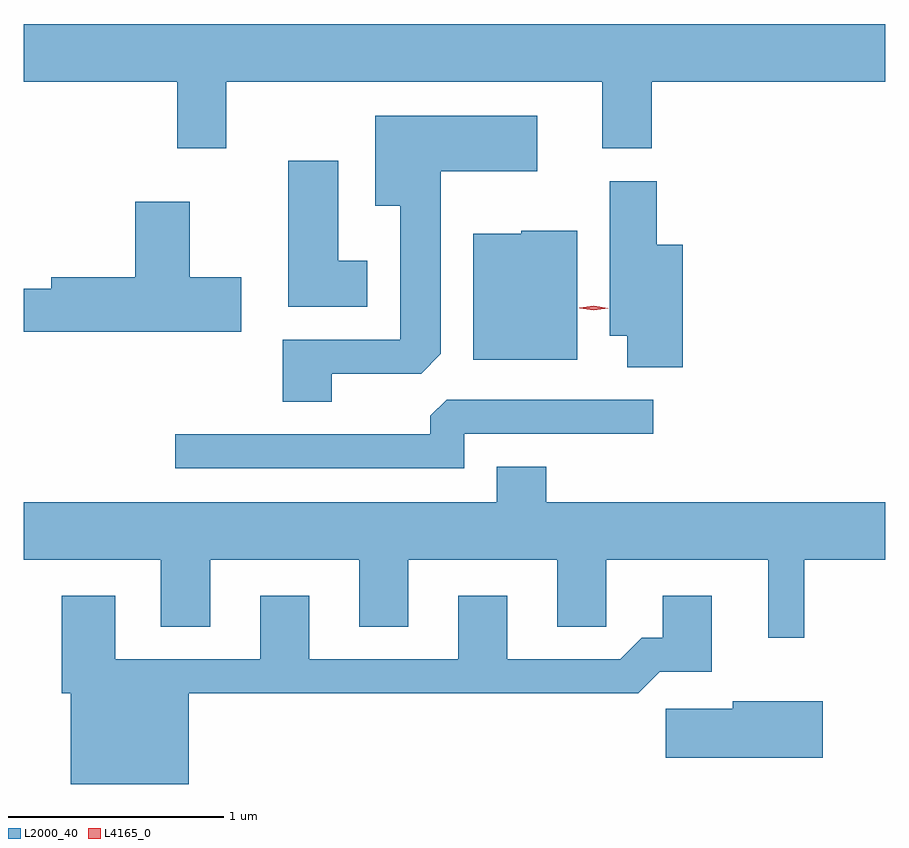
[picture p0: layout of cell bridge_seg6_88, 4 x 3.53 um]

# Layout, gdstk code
import gdstk
lib = gdstk.Library(unit=1e-6, precision=1e-09)
def P(c, l, *ps):  # polygons
    for p in ps: c.add(gdstk.Polygon(p, *l))
L2000_40 = (2000, 40)
L4165_0 = (4165, 0)

bridge_seg6_88 = lib.new_cell('bridge_seg6_88')
P(bridge_seg6_88, L2000_40, [(1216.564,1638.836),(1218.311,1638.836),(1218.311,1638.526),(1218.539,1638.526),(1218.539,1638.836),(1219.624,1638.836),(1219.624,1639.104),(1215.624,1639.104),(1215.624,1638.836),(1216.336,1638.836),(1216.336,1638.526),(1216.564,1638.526)],
  [(1217.054,1637.481),(1217.469,1637.481),(1217.559,1637.572),(1217.559,1638.421),(1218.009,1638.421),(1218.009,1638.679),(1217.256,1638.679),(1217.256,1638.261),(1217.371,1638.261),(1217.371,1637.639),(1216.826,1637.639),(1216.826,1637.351),(1217.054,1637.351)],
  [(1217.219,1638.004),(1217.084,1638.004),(1217.084,1638.469),(1216.851,1638.469),(1216.851,1637.791),(1217.219,1637.791)],
  [(1218.684,1638.079),(1218.564,1638.079),(1218.564,1638.374),(1218.346,1638.374),(1218.346,1637.656),(1218.426,1637.656),(1218.426,1637.511),(1218.684,1637.511)],
  [(1216.634,1637.929),(1216.394,1637.929),(1216.394,1638.279),(1216.141,1638.279),(1216.141,1637.929),(1215.751,1637.929),(1215.751,1637.874),(1215.624,1637.874),(1215.624,1637.676),(1216.634,1637.676)],
  [(1218.194,1638.144),(1217.935,1638.144),(1217.935,1638.129),(1217.711,1638.129),(1217.711,1637.546),(1218.194,1637.546)],
  [(1217.669,1637.201),(1218.548,1637.201),(1218.548,1637.359),(1217.587,1637.359),(1217.511,1637.284),(1217.511,1637.199),(1216.328,1637.199),(1216.328,1637.041),(1217.669,1637.041)],
  [(1219.249,1636.616),(1219.624,1636.616),(1219.624,1636.884),(1218.049,1636.884),(1218.049,1637.049),(1217.821,1637.049),(1217.821,1636.884),(1215.624,1636.884),(1215.624,1636.616),(1216.261,1636.616),(1216.261,1636.306),(1216.489,1636.306),(1216.489,1636.616),(1217.181,1636.616),(1217.181,1636.306),(1217.409,1636.306),(1217.409,1636.616),(1218.101,1636.616),(1218.101,1636.306),(1218.329,1636.306),(1218.329,1636.616),(1219.081,1636.616),(1219.081,1636.253),(1219.249,1636.253)],
  [(1216.389,1635.996),(1218.477,1635.996),(1218.577,1636.096),(1218.819,1636.096),(1218.819,1636.449),(1218.591,1636.449),(1218.591,1636.254),(1218.494,1636.254),(1218.394,1636.154),(1217.869,1636.154),(1217.869,1636.449),(1217.641,1636.449),(1217.641,1636.154),(1216.949,1636.154),(1216.949,1636.449),(1216.721,1636.449),(1216.721,1636.154),(1216.049,1636.154),(1216.049,1636.449),(1215.801,1636.449),(1215.801,1635.996),(1215.841,1635.996),(1215.841,1635.575),(1216.389,1635.575)],
  [(1219.334,1635.959),(1218.916,1635.959),(1218.916,1635.924),(1218.606,1635.924),(1218.606,1635.696),(1219.334,1635.696)])
P(bridge_seg6_88, L4165_0, [(1218.271,1637.775),(1218.205,1637.785),(1218.204,1637.786),(1218.205,1637.786),(1218.271,1637.795),(1218.337,1637.785),(1218.337,1637.785),(1218.337,1637.784)])

lib.write_gds('bridge_seg6_88.gds')
